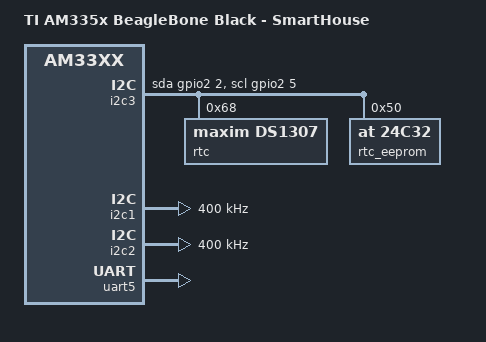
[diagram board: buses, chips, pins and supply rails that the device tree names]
/*
 * Copyright (C) 2012 Texas Instruments Incorporated - http://www.ti.com/
 *
 * This program is free software; you can redistribute it and/or modify
 * it under the terms of the GNU General Public License version 2 as
 * published by the Free Software Foundation.
 */
/dts-v1/;

#include "am33xx.dtsi"
#include "am335x-bone-common-smarthouse.dtsi"
#include "am335x-boneblack-common.dtsi"
#include "am335x-bone-common-univ-smarthouse.dtsi"

/* #include "am335x-bone-jtag.dtsi" */

/ {
	model = "TI AM335x BeagleBone Black - SmartHouse";
	compatible = "ti,am335x-bone-black", "ti,am335x-bone", "ti,am33xx";

	exclusive-use =
                /* the pin header uses */
                "P9.20",        /* i2c2_sda */
                "P9.19",        /* i2c2_scl */
                /* the hardware ip uses */
                "i2c2";

	chosen {
		base_dtb = "am335x-boneblack-smartouse.dts";
		base_dtb_timestamp = __TIMESTAMP__;
	};
};

&cpu0_opp_table {
	/*
	 * All PG 2.0 silicon may not support 1GHz but some of the early
	 * BeagleBone Blacks have PG 2.0 silicon which is guaranteed
	 * to support 1GHz OPP so enable it for PG 2.0 on this board.
	 */
	oppnitro-1000000000 {
		opp-supported-hw = <0x06 0x0100>;
	};
};

&am33xx_pinmux {
	mcasp0_pins: mcasp0_pins {
		pinctrl-single,pins = <
			AM33XX_IOPAD(0x9ac, PIN_INPUT_PULLUP | MUX_MODE0) /* mcasp0_ahcklx.mcasp0_ahclkx */
			AM33XX_IOPAD(0x99c, PIN_OUTPUT_PULLDOWN | MUX_MODE2) /* mcasp0_ahclkr.mcasp0_axr2*/
			AM33XX_IOPAD(0x994, PIN_OUTPUT_PULLUP | MUX_MODE0) /* mcasp0_fsx.mcasp0_fsx */
			AM33XX_IOPAD(0x990, PIN_OUTPUT_PULLDOWN | MUX_MODE0) /* mcasp0_aclkx.mcasp0_aclkx */
			AM33XX_IOPAD(0x86c, PIN_OUTPUT_PULLDOWN | MUX_MODE7) /* gpmc_a11.GPIO1_27 */
		>;
	};

	uart5_pins: pinmux_uart5_pins {
		pinctrl-single,pins = <
			AM33XX_PADCONF(AM335X_PIN_LCD_DATA9, PIN_INPUT_PULLUP, MUX_MODE4)	/* (U2) lcd_data9.uart5_rxd */
			AM33XX_PADCONF(AM335X_PIN_LCD_DATA8, PIN_OUTPUT_PULLDOWN, MUX_MODE4)	/* (U1) lcd_data8.uart5_txd */
		>;
	};
};

&i2c1 {
	/* i2c1 is numbered correctly */
	status = "okay";
	clock-frequency = <400000>;
	pinctrl-names = "default";
	pinctrl-0 = <&i2c1_pins>;
	symlink = "bone/i2c/1";
};

&i2c2 {
	/* i2c1 is numbered correctly */
	status = "okay";
	clock-frequency = <400000>;
	pinctrl-names = "default";
	pinctrl-0 = <&i2c2_pins>;
	symlink = "bone/i2c/2";
};

/ {
	i2c3 {
		compatible = "i2c-gpio";
		gpios = <&gpio2 2 GPIO_ACTIVE_HIGH /* sda */
			 &gpio2 5 GPIO_ACTIVE_HIGH /* scl */
		>;
		i2c-gpio,delay-us = <2>;        /* ~100 kHz */
		#address-cells = <1>;
		#size-cells = <0>;
		pinctrl-names = "default";
		pinctrl-0 = <&i2c3_pins>;
		status = "okay";
		symlink = "bone/i2c/3";

		rtc@68 {
			compatible = "maxim,ds1307";
			reg = <0x68>;
		};

		rtc_eeprom: rtc_eeprom@50 {
			compatible = "at,24c32";
			reg = <0x50>;
		};
	};

	aliases {
		eeprom  = &baseboard_eeprom;
		eeprom0 = &cape_eeprom0;
		eeprom1 = &cape_eeprom1;
		eeprom2 = &cape_eeprom2;
		eeprom3 = &cape_eeprom3;
		eeprom4 = &cape_eeprom4;
		eeprom5 = &cape_eeprom5;
		eeprom6 = &cape_eeprom6;
		eeprom7 = &cape_eeprom7;
		eeprom8 = &cape_eeprom8;
	};
};

&uart5 {
	pinctrl-names = "default";
	pinctrl-0 = <&uart5_pins>;

	status = "okay";
};
